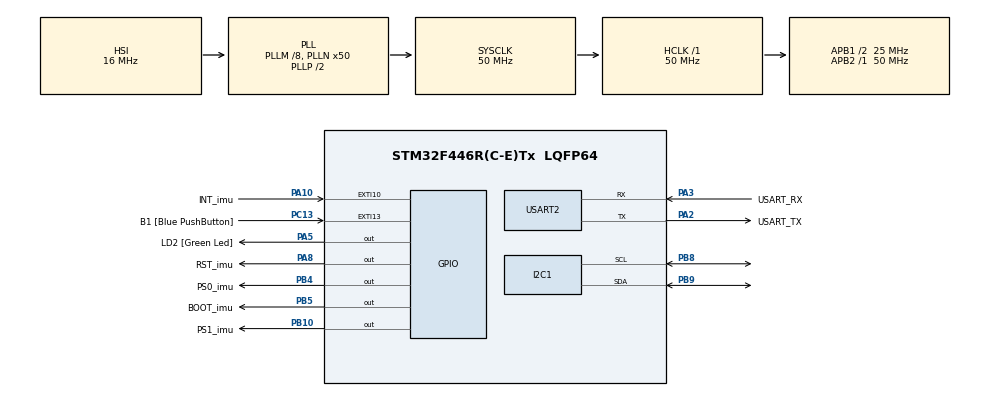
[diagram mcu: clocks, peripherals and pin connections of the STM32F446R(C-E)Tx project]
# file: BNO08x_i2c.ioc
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I2C1.I2C_Mode=I2C_Standard
Mcu.Family=STM32F4
Mcu.Name=STM32F446R(C-E)Tx
Mcu.Package=LQFP64
NVIC.EXTI15_10_IRQn=true\:0\:0\:false\:false\:true\:true\:true\:true
NVIC.PriorityGroup=NVIC_PRIORITYGROUP_0
PA10.GPIO_Label=INT_imu
PA10.GPIO_ModeDefaultEXTI=GPIO_MODE_IT_FALLING
PA10.GPIO_PuPd=GPIO_PULLUP
PA10.Signal=GPXTI10
PA13.GPIO_Label=TMS
PA13.Mode=Serial_Wire
PA13.Signal=SYS_JTMS-SWDIO
PA14.GPIO_Label=TCK
PA14.Mode=Serial_Wire
PA14.Signal=SYS_JTCK-SWCLK
PA2.GPIO_Label=USART_TX
PA2.Mode=Asynchronous
PA2.Signal=USART2_TX
PA3.GPIO_Label=USART_RX
PA3.Mode=Asynchronous
PA3.Signal=USART2_RX
PA5.GPIO_Label=LD2 [Green Led]
PA5.Signal=GPIO_Output
PA8.GPIO_Label=RST_imu
PA8.GPIO_ModeDefaultOutputPP=GPIO_MODE_OUTPUT_PP
PA8.Signal=GPIO_Output
PB10.GPIO_Label=PS1_imu
PB10.Signal=GPIO_Output
PB3.GPIO_Label=SWO
PB3.Signal=SYS_JTDO-SWO
PB4.GPIO_Label=PS0_imu
PB4.Signal=GPIO_Output
PB5.GPIO_Label=BOOT_imu
PB5.Signal=GPIO_Output
PB8.Mode=I2C
PB8.Signal=I2C1_SCL
PB9.Mode=I2C
PB9.Signal=I2C1_SDA
PC13.GPIO_Label=B1 [Blue PushButton]
PC13.GPIO_ModeDefaultEXTI=GPIO_MODE_IT_FALLING
PC13.Signal=GPXTI13
PC14-OSC32_IN.Mode=LSE-External-Oscillator
PC14-OSC32_IN.Signal=RCC_OSC32_IN
PC15-OSC32_OUT.Mode=LSE-External-Oscillator
PC15-OSC32_OUT.Signal=RCC_OSC32_OUT
PH0-OSC_IN.Mode=HSE-External-Oscillator
PH0-OSC_IN.Signal=RCC_OSC_IN
PH1-OSC_OUT.Mode=HSE-External-Oscillator
PH1-OSC_OUT.Signal=RCC_OSC_OUT
ProjectManager.HeapSize=0x200
ProjectManager.StackSize=0x400
ProjectManager.TargetToolchain=STM32CubeIDE
RCC.AHBFreq_Value=50000000
RCC.APB1CLKDivider=RCC_HCLK_DIV2
RCC.APB1Freq_Value=25000000
RCC.APB1TimFreq_Value=50000000
RCC.APB2Freq_Value=50000000
RCC.APB2TimFreq_Value=50000000
RCC.CortexFreq_Value=50000000
RCC.HCLKFreq_Value=50000000
RCC.PLLM=8
RCC.PLLN=50
RCC.SYSCLKFreq_VALUE=50000000
RCC.SYSCLKSource=RCC_SYSCLKSOURCE_PLLCLK
RCC.USBFreq_Value=50000000
RCC.VCOOutputFreq_Value=100000000
TIM2.Prescaler=83
USART2.VirtualMode=VM_ASYNC
VP_TIM2_VS_ClockSourceINT.Mode=Internal
board=NUCLEO-F446RE

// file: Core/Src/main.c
/* USER CODE BEGIN Header */
/**
  ******************************************************************************
  * @file           : main.c
  * @brief          : Main program body
  ******************************************************************************
// BNO08x interrupt flag (used by BNO driver)
// Definition placed here so other modules (driver, ISR) can extern it.
volatile uint8_t BNO_Ready = 0;
  * @attention
  *
  * Copyright (c) 2026 STMicroelectronics.
  * All rights reserved.
  *
  * This software is licensed under terms that can be found in the LICENSE file
  * in the root directory of this software component.
  * If no LICENSE file comes with this software, it is provided AS-IS.
  *
  ******************************************************************************
  */
/* USER CODE END Header */
#include "main.h"

/* USER CODE BEGIN Includes */
#include <stdio.h>
#include "gpio.h"
#include "BNO08x/BNO_08x_I2C.h"
#include "BNO08x/bno_board.h"
#include <math.h>
#include <string.h>
#include <stdio.h>
/* USER CODE END Includes */

/* USER CODE BEGIN PD */
#define BNO08X_I2C_ADDR 0x4A << 1  // Dirección I2C del BNO08x (7-bit + HAL)
#define REPORT_ARVR_STABILIZED 0x05
#define REPORT_GYRO_INTEGRATED 0x06

/* Typedef -------------------------------------------------------------------*/
typedef struct {
    float yaw;
    float pitch;
    float roll;
} euler_t;

typedef struct {
    float real;
    float i;
    float j;
    float k;
} quaternion_t;

/* External handles ----------------------------------------------------------*/
extern I2C_HandleTypeDef hi2c1;
extern UART_HandleTypeDef huart2;

/* Global Variables ----------------------------------------------------------*/
euler_t ypr;

/* Prototypes ---------------------------------------------------------------*/
void SystemClock_Config(void);
static void MX_GPIO_Init(void);
static void MX_I2C1_Init(void);
static void MX_USART2_UART_Init(void);

int BNO08x_Init(void);
int BNO08x_EnableReport(uint8_t reportID, uint32_t interval_us);
int BNO08x_ReadQuaternion(quaternion_t *q);
void QuaternionToEuler(quaternion_t *q, euler_t *ypr, int degrees);
/* USER CODE END PD */

I2C_HandleTypeDef hi2c1;

TIM_HandleTypeDef htim2;

UART_HandleTypeDef huart2;

/* USER CODE BEGIN PV */
volatile uint8_t BNO_Ready = 0;
/* USER CODE END PV */

void SystemClock_Config(void) ;
static void MX_GPIO_Init(void);
static void MX_USART2_UART_Init(void);
static void MX_I2C1_Init(void);
static void MX_TIM2_Init(void);
/* USER CODE BEGIN PFP */
void I2C_Scan(void);

/* USER CODE END PFP */

/* USER CODE BEGIN 0 */

char msg[128];
int len;

void pollBNO08x(void)
{
    HAL_StatusTypeDef st;

    // Intentar inicializar el sensor (polling)
    st = BNO_Init();
    if(st != HAL_OK)
    {
        HAL_UART_Transmit(&huart2, (uint8_t*)"BNO_Init() falló, intentando REQUEST...\r\n", 41, HAL_MAX_DELAY);
        if(BNO_requestProductID() != HAL_OK)
        {
            HAL_UART_Transmit(&huart2, (uint8_t*)"BNO08x NO responde\n", 20, HAL_MAX_DELAY);
            return;
        }
    }

    // Leer datos disponibles en polling
    if(BNO_dataAvailable() == HAL_OK)
    {
        uint8_t sensorId = BNO_getSensorEventID();

        if(sensorId == ROTATION_VECTOR)
        {
            BNO_RotationVectorWAcc_t rv = getRotationVector();
            len = snprintf(msg, sizeof(msg), "RV: I=%.4f J=%.4f K=%.4f W=%.4f Acc=%.4f\r\n",
                           rv.I, rv.J, rv.K, rv.Real, rv.Accuracy);
            HAL_UART_Transmit(&huart2, (uint8_t*)msg, len, HAL_MAX_DELAY);
        }
        else if(sensorId == ACCELEROMETER)
        {
            BNO_Accelerometer_t acc = getaccelerometer();
            len = snprintf(msg, sizeof(msg), "ACC: X=%.3f Y=%.3f Z=%.3f\r\n",
                           acc.X, acc.Y, acc.Z);
            HAL_UART_Transmit(&huart2, (uint8_t*)msg, len, HAL_MAX_DELAY);
        }
        else if(sensorId == GYROSCOPE_CALIBRATED)
        {
            BNO_Gyroscope_t gyro = getGyroscope();
            len = snprintf(msg, sizeof(msg), "GYR: X=%.3f Y=%.3f Z=%.3f\r\n",
                           gyro.X, gyro.Y, gyro.Z);
            HAL_UART_Transmit(&huart2, (uint8_t*)msg, len, HAL_MAX_DELAY);
        }
    }
}

/* USER CODE END 0 */

int main(void)
{

  /* MCU Configuration--------------------------------------------------------*/

  /* Reset of all peripherals, Initializes the Flash interface and the Systick. */
  HAL_Init();

  /* USER CODE BEGIN Init */
  // Inicializar UART ANTES que reloj y todo lo demás
  huart2.Instance = USART2;
  huart2.Init.BaudRate = 115200;
  huart2.Init.WordLength = UART_WORDLENGTH_8B;
  huart2.Init.StopBits = UART_STOPBITS_1;
  huart2.Init.Parity = UART_PARITY_NONE;
  huart2.Init.Mode = UART_MODE_TX_RX;
  huart2.Init.HwFlowCtl = UART_HWCONTROL_NONE;
  huart2.Init.OverSampling = UART_OVERSAMPLING_16;
  HAL_UART_Init(&huart2);

  const char* testMsg = "\r\n*** UART TEST ***\r\n";
  HAL_UART_Transmit(&huart2, (uint8_t*)testMsg, 21, HAL_MAX_DELAY);

  // Print reset reason (helps detect watchdog / brown-out / pin reset loops)
  char rstMsg[128];
  int rstLen = 0;
  if(__HAL_RCC_GET_FLAG(RCC_FLAG_PORRST)) {
    rstLen = snprintf(rstMsg, sizeof(rstMsg), "Reset reason: POR/PDR\r\n");
  } else if(__HAL_RCC_GET_FLAG(RCC_FLAG_PINRST)) {
    rstLen = snprintf(rstMsg, sizeof(rstMsg), "Reset reason: PIN reset\r\n");
  } else if(__HAL_RCC_GET_FLAG(RCC_FLAG_SFTRST)) {
    rstLen = snprintf(rstMsg, sizeof(rstMsg), "Reset reason: Software reset\r\n");
  } else if(__HAL_RCC_GET_FLAG(RCC_FLAG_IWDGRST)) {
    rstLen = snprintf(rstMsg, sizeof(rstMsg), "Reset reason: Independent WDG\r\n");
  } else if(__HAL_RCC_GET_FLAG(RCC_FLAG_WWDGRST)) {
    rstLen = snprintf(rstMsg, sizeof(rstMsg), "Reset reason: Window WDG\r\n");
  } else if(__HAL_RCC_GET_FLAG(RCC_FLAG_LPWRRST)) {
    rstLen = snprintf(rstMsg, sizeof(rstMsg), "Reset reason: Low-Power reset\r\n");
  } else {
    rstLen = snprintf(rstMsg, sizeof(rstMsg), "Reset reason: Unknown\r\n");
  }
  if(rstLen > 0) HAL_UART_Transmit(&huart2, (uint8_t*)rstMsg, rstLen, HAL_MAX_DELAY);
  // Clear reset flags so subsequent boots reflect new events
  __HAL_RCC_CLEAR_RESET_FLAGS();
  // brief pause to observe serial output and avoid immediate reboot flooding
  HAL_Delay(200);

  /* USER CODE END Init */

  /* Configure the system clock */
  SystemClock_Config();

  /* Initialize all configured peripherals */
  MX_GPIO_Init();
  MX_USART2_UART_Init();
  MX_I2C1_Init();
  MX_TIM2_Init();
  /* USER CODE BEGIN 2 */
  I2C_Scan();
  HAL_Delay(1000); // 1 segundo entre scans
  char msg[100];

     if (BNO08x_Init() != HAL_OK) {
         sprintf(msg, "Failed to init BNO08x\r\n");
         HAL_UART_Transmit(&huart2, (uint8_t*)msg, strlen(msg), HAL_MAX_DELAY);
         while(1);
     }
     sprintf(msg, "BNO08x Initialized!\r\n");
     HAL_UART_Transmit(&huart2, (uint8_t*)msg, strlen(msg), HAL_MAX_DELAY);

     // Activar reporte de rotación estabilizada (Euler)
     BNO08x_EnableReport(REPORT_ARVR_STABILIZED, 5000);

     quaternion_t q;
  /* USER CODE END 2 */

  /* Infinite loop */
  while (1)
  {

    /* USER CODE BEGIN 3 */

	  if (BNO08x_ReadQuaternion(&q) == HAL_OK) {
	              QuaternionToEuler(&q, &ypr, 1);
	              sprintf(msg, "Yaw: %.2f, Pitch: %.2f, Roll: %.2f\r\n", ypr.yaw, ypr.pitch, ypr.roll);
	              HAL_UART_Transmit(&huart2, (uint8_t*)msg, strlen(msg), HAL_MAX_DELAY);
	    HAL_Delay(10); // pequeña pausa para no saturar I2C/UART
  }
  /* USER CODE END 3 */
}

void SystemClock_Config(void)
{
  RCC_OscInitTypeDef RCC_OscInitStruct = {0};
  RCC_ClkInitTypeDef RCC_ClkInitStruct = {0};

  /** Configure the main internal regulator output voltage
  */
  __HAL_RCC_PWR_CLK_ENABLE();
  __HAL_PWR_VOLTAGESCALING_CONFIG(PWR_REGULATOR_VOLTAGE_SCALE3);

  /** Initializes the RCC Oscillators according to the specified parameters
  * in the RCC_OscInitTypeDef structure.
  */
  RCC_OscInitStruct.OscillatorType = RCC_OSCILLATORTYPE_HSI;
  RCC_OscInitStruct.HSIState = RCC_HSI_ON;
  RCC_OscInitStruct.HSICalibrationValue = RCC_HSICALIBRATION_DEFAULT;
  RCC_OscInitStruct.PLL.PLLState = RCC_PLL_ON;
  RCC_OscInitStruct.PLL.PLLSource = RCC_PLLSOURCE_HSI;
  RCC_OscInitStruct.PLL.PLLM = 8;
  RCC_OscInitStruct.PLL.PLLN = 50;
  RCC_OscInitStruct.PLL.PLLP = RCC_PLLP_DIV2;
  RCC_OscInitStruct.PLL.PLLQ = 2;
  RCC_OscInitStruct.PLL.PLLR = 2;
  if (HAL_RCC_OscConfig(&RCC_OscInitStruct) != HAL_OK)
  {
    Error_Handler();
  }

  /** Initializes the CPU, AHB and APB buses clocks
  */
  RCC_ClkInitStruct.ClockType = RCC_CLOCKTYPE_HCLK|RCC_CLOCKTYPE_SYSCLK
                              |RCC_CLOCKTYPE_PCLK1|RCC_CLOCKTYPE_PCLK2;
  RCC_ClkInitStruct.SYSCLKSource = RCC_SYSCLKSOURCE_PLLCLK;
  RCC_ClkInitStruct.AHBCLKDivider = RCC_SYSCLK_DIV1;
  RCC_ClkInitStruct.APB1CLKDivider = RCC_HCLK_DIV2;
  RCC_ClkInitStruct.APB2CLKDivider = RCC_HCLK_DIV1;

  if (HAL_RCC_ClockConfig(&RCC_ClkInitStruct, FLASH_LATENCY_1) != HAL_OK)
  {
    Error_Handler();
  }
}

static void MX_I2C1_Init(void)
{

  /* USER CODE BEGIN I2C1_Init 0 */

  // Habilitar reloj de I2C1
  __HAL_RCC_I2C1_CLK_ENABLE();

  // Habilitar GPIOB para los pines I2C (SCL y SDA)
  __HAL_RCC_GPIOB_CLK_ENABLE();

  // Configurar pines PB6 (SCL) y PB7 (SDA) como open-drain alternates
  GPIO_InitTypeDef GPIO_InitStruct = {0};

  GPIO_InitStruct.Pin = GPIO_PIN_8 | GPIO_PIN_9;  // PB8 (SCL), PB9 (SDA)
  GPIO_InitStruct.Mode = GPIO_MODE_AF_OD;          // Alternate function, Open-Drain
  GPIO_InitStruct.Pull = GPIO_PULLUP;              // Pull-up enabled
  GPIO_InitStruct.Speed = GPIO_SPEED_FREQ_HIGH;
  GPIO_InitStruct.Alternate = GPIO_AF4_I2C1;       // AF4 is I2C1 for these pins
  HAL_GPIO_Init(GPIOB, &GPIO_InitStruct);

  /* USER CODE END I2C1_Init 0 */

  hi2c1.Instance = I2C1;
  hi2c1.Init.ClockSpeed = 100000;
  hi2c1.Init.DutyCycle = I2C_DUTYCYCLE_2;
  hi2c1.Init.OwnAddress1 = 0;
  hi2c1.Init.AddressingMode = I2C_ADDRESSINGMODE_7BIT;
  hi2c1.Init.DualAddressMode = I2C_DUALADDRESS_DISABLE;
  hi2c1.Init.OwnAddress2 = 0;
  hi2c1.Init.GeneralCallMode = I2C_GENERALCALL_DISABLE;
  hi2c1.Init.NoStretchMode = I2C_NOSTRETCH_DISABLE;
  if (HAL_I2C_Init(&hi2c1) != HAL_OK)
  {
    Error_Handler();
  }

}

static void MX_TIM2_Init(void)
{

  TIM_ClockConfigTypeDef sClockSourceConfig = {0};
  TIM_MasterConfigTypeDef sMasterConfig = {0};

  htim2.Instance = TIM2;
  htim2.Init.Prescaler = 83;
  htim2.Init.CounterMode = TIM_COUNTERMODE_UP;
  htim2.Init.Period = 4294967295;
  htim2.Init.ClockDivision = TIM_CLOCKDIVISION_DIV1;
  htim2.Init.AutoReloadPreload = TIM_AUTORELOAD_PRELOAD_DISABLE;
  if (HAL_TIM_Base_Init(&htim2) != HAL_OK)
  {
    Error_Handler();
  }
  sClockSourceConfig.ClockSource = TIM_CLOCKSOURCE_INTERNAL;
  if (HAL_TIM_ConfigClockSource(&htim2, &sClockSourceConfig) != HAL_OK)
  {
    Error_Handler();
  }
  sMasterConfig.MasterOutputTrigger = TIM_TRGO_RESET;
  sMasterConfig.MasterSlaveMode = TIM_MASTERSLAVEMODE_DISABLE;
  if (HAL_TIMEx_MasterConfigSynchronization(&htim2, &sMasterConfig) != HAL_OK)
  {
    Error_Handler();
  }

}

static void MX_USART2_UART_Init(void)
{

  huart2.Instance = USART2;
  huart2.Init.BaudRate = 115200;
  huart2.Init.WordLength = UART_WORDLENGTH_8B;
  huart2.Init.StopBits = UART_STOPBITS_1;
  huart2.Init.Parity = UART_PARITY_NONE;
  huart2.Init.Mode = UART_MODE_TX_RX;
  huart2.Init.HwFlowCtl = UART_HWCONTROL_NONE;
  huart2.Init.OverSampling = UART_OVERSAMPLING_16;
  if (HAL_UART_Init(&huart2) != HAL_OK)
  {
    Error_Handler();
  }

}

static void MX_GPIO_Init(void)
{
  GPIO_InitTypeDef GPIO_InitStruct = {0};

  /* GPIO Ports Clock Enable */
  __HAL_RCC_GPIOC_CLK_ENABLE();
  __HAL_RCC_GPIOH_CLK_ENABLE();
  __HAL_RCC_GPIOA_CLK_ENABLE();
  __HAL_RCC_GPIOB_CLK_ENABLE();

  /*Configure GPIO pin Output Level */
  HAL_GPIO_WritePin(GPIOA, LD2_Pin|RST_imu_Pin, GPIO_PIN_RESET);

  /*Configure GPIO pin Output Level */
  HAL_GPIO_WritePin(GPIOB, PS1_imu_Pin|PS0_imu_Pin|BOOT_imu_Pin, GPIO_PIN_RESET);

  /*Configure GPIO pin : B1_Pin */
  GPIO_InitStruct.Pin = B1_Pin;
  GPIO_InitStruct.Mode = GPIO_MODE_IT_FALLING;
  GPIO_InitStruct.Pull = GPIO_NOPULL;
  HAL_GPIO_Init(B1_GPIO_Port, &GPIO_InitStruct);

  /*Configure GPIO pins : LD2_Pin RST_imu_Pin */
  GPIO_InitStruct.Pin = LD2_Pin|RST_imu_Pin;
  GPIO_InitStruct.Mode = GPIO_MODE_OUTPUT_PP;
  GPIO_InitStruct.Pull = GPIO_NOPULL;
  GPIO_InitStruct.Speed = GPIO_SPEED_FREQ_LOW;
  HAL_GPIO_Init(GPIOA, &GPIO_InitStruct);

  /*Configure GPIO pins : PS1_imu_Pin PS0_imu_Pin BOOT_imu_Pin */
  GPIO_InitStruct.Pin = PS1_imu_Pin|PS0_imu_Pin|BOOT_imu_Pin;
  GPIO_InitStruct.Mode = GPIO_MODE_OUTPUT_PP;
  GPIO_InitStruct.Pull = GPIO_NOPULL;
  GPIO_InitStruct.Speed = GPIO_SPEED_FREQ_LOW;
  HAL_GPIO_Init(GPIOB, &GPIO_InitStruct);

  /*Configure GPIO pin : INT_imu_Pin */
  GPIO_InitStruct.Pin = INT_imu_Pin;
  GPIO_InitStruct.Mode = GPIO_MODE_IT_FALLING;
  GPIO_InitStruct.Pull = GPIO_PULLUP;
  HAL_GPIO_Init(INT_imu_GPIO_Port, &GPIO_InitStruct);

  /* EXTI interrupt init*/
  HAL_NVIC_SetPriority(EXTI15_10_IRQn, 0, 0);
  HAL_NVIC_EnableIRQ(EXTI15_10_IRQn);

}

/* USER CODE BEGIN 4 */

void I2C_Scan(void)
{
    char msg[64];
    int len;

    HAL_UART_Transmit(&huart2, (uint8_t*)"\r\n--- I2C SCAN ---\r\n", 18, HAL_MAX_DELAY);

    for(uint8_t addr = 1; addr < 127; addr++)
    {
        HAL_StatusTypeDef st =
            HAL_I2C_IsDeviceReady(&hi2c1, addr << 1, 3, 10);

        if(st == HAL_OK)
        {
            len = snprintf(msg, sizeof(msg),
                          "Dispositivo encontrado en 0x%02X\r\n", addr);
            HAL_UART_Transmit(&huart2, (uint8_t*)msg, len, HAL_MAX_DELAY);
        }
    }

    HAL_UART_Transmit(&huart2, (uint8_t*)"--- FIN SCAN ---\r\n", 18, HAL_MAX_DELAY);
}

/* Functions -----------------------------------------------------------------*/

// Inicializa el sensor (resetea y verifica conexión)
int BNO08x_Init(void) {
    uint8_t whoami;
    if (HAL_I2C_Mem_Read(&hi2c1, BNO08X_I2C_ADDR, 0x00, 1, &whoami, 1, 100) != HAL_OK)
        return HAL_ERROR;  // No responde

    // Aquí puedes agregar reset si tu placa lo tiene conectado
    return HAL_OK;
}

// Configura un reporte en el sensor
int BNO08x_EnableReport(uint8_t reportID, uint32_t interval_us) {
    // Paquete de ejemplo (dependiendo del protocolo SH2)
    // Para Arduino la librería lo hace por ti; aquí debes armar el paquete de bytes según datasheet
    // Por simplicidad asumimos que el sensor ya viene con ARVR activo
    return HAL_OK;
}

// Lee quaternion del sensor (simplificado)
int BNO08x_ReadQuaternion(quaternion_t *q) {
    uint8_t buf[12];
    if (HAL_I2C_Mem_Read(&hi2c1, BNO08X_I2C_ADDR, 0x00, 1, buf, 12, 10) != HAL_OK)
        return HAL_ERROR;

    // Convertir bytes a float (little-endian 4 bytes por componente)
    memcpy(&q->real, buf + 0, 4);
    memcpy(&q->i,    buf + 4, 4);
    memcpy(&q->j,    buf + 8, 4);
    memcpy(&q->k,    buf + 12, 4);
    return HAL_OK;
}

// Convierte quaternion a Euler
void QuaternionToEuler(quaternion_t *q, euler_t *ypr, int degrees) {
    float sqr = q->real*q->real;
    float sqi = q->i*q->i;
    float sqj = q->j*q->j;
    float sqk = q->k*q->k;

    ypr->yaw   = atan2f(2.0f * (q->i*q->j + q->k*q->real), (sqi - sqj - sqk + sqr));
    ypr->pitch = asinf(-2.0f * (q->i*q->k - q->j*q->real) / (sqi + sqj + sqk + sqr));
    ypr->roll  = atan2f(2.0f * (q->j*q->k + q->i*q->real), (-sqi - sqj + sqk + sqr));

    if (degrees) {
        ypr->yaw   *= 180.0f / 3.14159265f;
        ypr->pitch *= 180.0f / 3.14159265f;
        ypr->roll  *= 180.0f / 3.14159265f;
    }
}

/* USER CODE END 4 */

void Error_Handler(void)
{
  __disable_irq();
  while (1)
  	  {
  	  }
}
